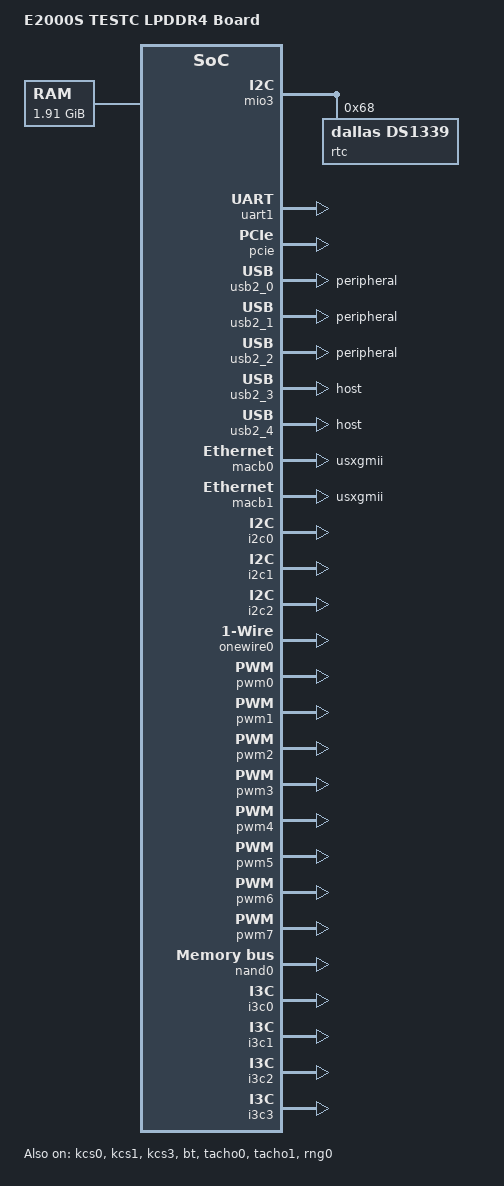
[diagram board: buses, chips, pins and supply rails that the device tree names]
// SPDX-License-Identifier: GPL-2.0
/*
 * DTS file for Phytium E2000S test board
 *
 * Copyright (C) 2022, Phytium Technology Co., Ltd.
 *
 * This program is free software; you can redistribute it and/or
 * modify it under the terms of the GNU General Public License as
 * published by the Free Software Foundation; either version 2 of
 * the License, or (at your option) any later version.
 */

/dts-v1/;
/memreserve/ 0x80000000 0x10000;

#include "e2000s.dtsi"

/{
	model = "E2000S TESTC LPDDR4 Board";
	compatible = "phytium,e2000s";

	chosen {
		stdout-path = "serial1:115200n8";
	};

	memory@00{
		device_type = "memory";
		reg = <0x0 0x80000000 0x0 0x7a000000>;
	};
};

&soc {
	mio3: i2c@2801a000 {
		compatible = "phytium,i2c";
		reg = <0x0 0x2801a000 0x0 0x1000>;
		interrupts = <GIC_SPI 95 IRQ_TYPE_LEVEL_HIGH>;
		clocks = <&sysclk_50mhz>;
		#address-cells = <1>;
		#size-cells = <0>;
		status = "okay";

		rtc@68 {
			compatible = "dallas,ds1339";
			reg = <0x68>;
		};
	};
};

&uart1 {
	status = "okay";
};

&pcie {
	status = "okay";
};

&usb2_0 {
	dr_mode = "peripheral";
	status = "okay";
};

&usb2_1 {
	dr_mode = "peripheral";
	status = "okay";
};

&usb2_2 {
	dr_mode = "peripheral";
	status = "okay";
};

&usb2_3 {
	dr_mode = "host";
	status = "okay";
};

&usb2_4 {
	dr_mode = "host";
	status = "okay";
};

&macb0 {
	phy-mode = "usxgmii";
	status = "okay";
};

&macb1 {
	phy-mode = "usxgmii";
	status = "okay";
};

&i2c0 {
	status = "okay";
};

&i2c1 {
	status = "okay";
};

&i2c2 {
	status = "okay";
};

&kcs0 {
	kcs_chan = <1>;
	kcs_addr = <0xca0>;
	status = "okay";
};

&kcs1 {
	kcs_chan = <2>;
	kcs_addr = <0xca8>;
	status = "okay";
};

&kcs3 {
	kcs_chan = <4>;
	kcs_addr = <0xcb0>;
	status = "okay";
};

&bt {
	status = "okay";
};

&onewire0 {
	status = "okay";
};

&pwm0 {
	phytium,db = <0 0 0 0 0 0>;
	status = "okay";
};

&pwm1 {
	phytium,db = <0 0 0 1000 1000 0>;
	status = "okay";
};

&pwm2 {
	phytium,db = <0 0 0 1000 1000 1>;
	status = "okay";
};

&pwm3 {
	phytium,db = <0 0 0 1000 1000 2>;
	status = "okay";
};

&pwm4 {
	phytium,db = <0 0 0 0 0 0>;
	status = "okay";
};

&pwm5 {
	phytium,db = <0 0 0 0 0 0>;
	status = "okay";
};

&pwm6 {
	phytium,db = <0 0 0 0 0 0>;
	status = "okay";
};

&pwm7 {
	phytium,db = <0 0 0 0 0 0>;
	status = "okay";
};

&tacho0 {
	status = "okay";
};

&tacho1 {
	status = "okay";
};

&nand0 {
	nand-bus-width = <8>;
	nand-ecc-mode = "hw";
	nand-ecc-strength = <8>;
	nand-ecc-step-size = <512>;
	status = "okay";

	partitions {
		compatible = "fixed-partitions";
		#address-cells = <1>;
		#size-cells = <1>;

		part1@0 {
			label = "part1";
			reg = <0x0 0x2000000>;
		};

		part2@2000000 {
			label = "part2";
			reg = <0x2000000 0x4000000>;
		};
	};
};

&i3c0 {
	status = "okay";
};

&i3c1 {
	status = "okay";
};

&i3c2 {
	status = "okay";
};

&i3c3 {
	status = "okay";
};

&rng0 {
	status = "okay";
};
